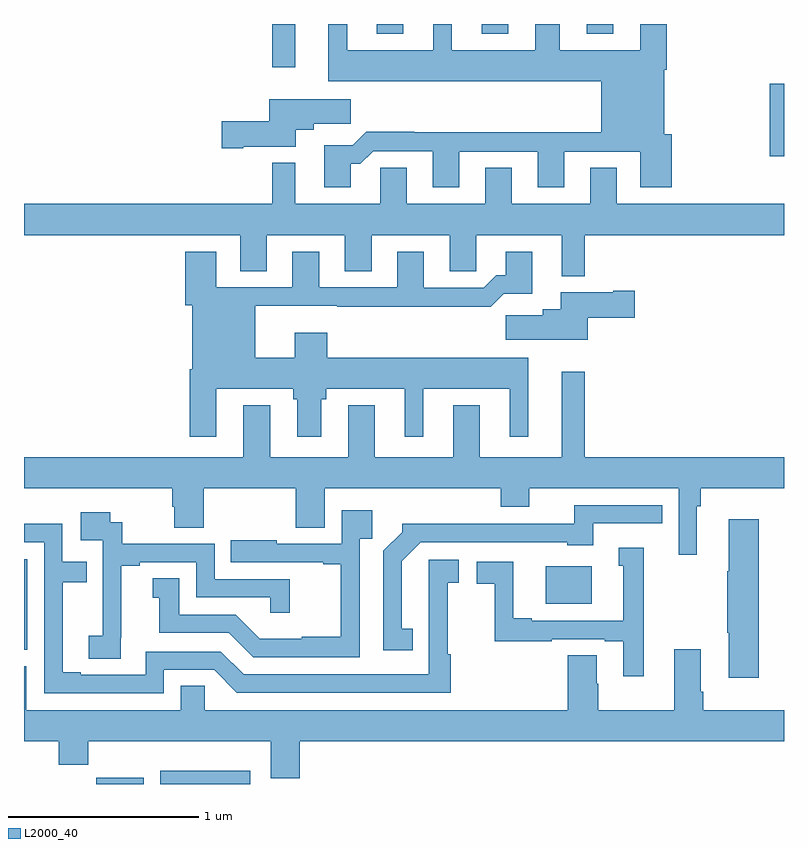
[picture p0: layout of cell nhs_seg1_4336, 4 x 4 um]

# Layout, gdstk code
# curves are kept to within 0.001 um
import gdstk
lib = gdstk.Library(unit=1e-6, precision=1e-09)
def R(c, l, rs):  # rectangles x0, y0, x1, y1
    for r in rs: c.add(gdstk.rectangle(r[:2], r[2:], *l))
def A(c, l, x, y, w, h, nx, ny, dx, dy):  # array of equal rectangles
    R(c, l, [(x+i*dx, y+j*dy, x+i*dx+w, y+j*dy+h) for i in range(nx) for j in range(ny)])
def P(c, l, *ps):  # polygons
    for p in ps: c.add(gdstk.Polygon(p, *l))
L2000_40 = (2000, 40)

nhs_seg1_4336 = lib.new_cell('nhs_seg1_4336')
A(nhs_seg1_4336, L2000_40, 348.857, 530.147, 0.14, 0.052, 3, 1, 0.552, 0)
R(nhs_seg1_4336, L2000_40, [(347.38,526.199,347.629,526.231), (347.717,526.199,348.19,526.27), (347,526.905,347.016,527.382), (349.745,527.147,349.987,527.344), (350.924,529.503,351,529.884), (348.306,529.971,348.427,530.199)])
P(nhs_seg1_4336, L2000_40, [(348.721,529.463),(348.77,529.463),(348.837,529.53),(349.151,529.53),(349.151,529.341),(349.291,529.341),(349.291,529.527),(349.703,529.527),(349.703,529.341),(349.843,529.341),(349.843,529.527),(350.243,529.527),(350.243,529.341),(350.408,529.341),(350.408,529.62),(350.371,529.62),(350.371,529.958),(350.384,529.958),(350.384,530.199),(350.243,530.199),(350.243,530.062),(349.819,530.062),(349.819,530.199),(349.691,530.199),(349.691,530.062),(349.252,530.062),(349.252,530.199),(349.154,530.199),(349.154,530.062),(348.7,530.062),(348.7,530.199),(348.602,530.199),(348.602,529.898),(350.039,529.898),(350.039,529.628),(349.055,529.628),(349.055,529.631),(348.8,529.631),(348.73,529.561),(348.581,529.561),(348.581,529.341),(348.721,529.341)],
  [(348.154,529.553),(348.43,529.553),(348.43,529.643),(348.526,529.643),(348.526,529.675),(348.721,529.675),(348.721,529.804),(348.29,529.804),(348.29,529.688),(348.042,529.688),(348.042,529.546),(348.154,529.546)],
  [(349.951,529.088),(351,529.088),(351,529.252),(350.119,529.252),(350.119,529.442),(349.979,529.442),(349.979,529.252),(349.567,529.252),(349.567,529.442),(349.427,529.442),(349.427,529.252),(349.015,529.252),(349.015,529.442),(348.876,529.442),(348.876,529.252),(348.427,529.252),(348.427,529.468),(348.306,529.468),(348.306,529.252),(347,529.252),(347,529.088),(348.137,529.088),(348.137,528.898),(348.277,528.898),(348.277,529.088),(348.689,529.088),(348.689,528.898),(348.829,528.898),(348.829,529.088),(349.241,529.088),(349.241,528.898),(349.38,528.898),(349.38,529.088),(349.829,529.088),(349.829,528.872),(349.951,528.872)],
  [(348.013,528.278),(348.418,528.278),(348.418,528.225),(348.437,528.225),(348.437,528.027),(348.565,528.027),(348.565,528.225),(348.591,528.225),(348.591,528.278),(349.004,528.278),(349.004,528.027),(349.102,528.027),(349.102,528.278),(349.556,528.278),(349.556,528.027),(349.654,528.027),(349.654,528.442),(348.596,528.442),(348.596,528.574),(348.425,528.574),(348.425,528.442),(348.217,528.442),(348.217,528.716),(348.649,528.716),(348.649,528.712),(349.201,528.712),(349.201,528.71),(349.457,528.71),(349.526,528.779),(349.675,528.779),(349.675,529),(349.535,529),(349.535,528.877),(349.486,528.877),(349.419,528.81),(349.105,528.81),(349.105,529),(348.965,529),(348.965,528.813),(348.553,528.813),(348.553,529),(348.413,529),(348.413,528.813),(348.013,528.813),(348.013,529),(347.849,529),(347.849,528.72),(347.885,528.72),(347.885,528.382),(347.873,528.382),(347.873,528.027),(348.013,528.027)],
  [(349.966,528.653),(350.215,528.653),(350.215,528.795),(350.102,528.795),(350.102,528.787),(349.826,528.787),(349.826,528.697),(349.73,528.697),(349.73,528.665),(349.536,528.665),(349.536,528.536),(349.966,528.536)],
  [(350.542,527.66),(350.561,527.66),(350.561,527.756),(351,527.756),(351,527.92),(349.951,527.92),(349.951,528.37),(349.829,528.37),(349.829,527.92),(349.399,527.92),(349.399,528.193),(349.259,528.193),(349.259,527.92),(348.847,527.92),(348.847,528.193),(348.707,528.193),(348.707,527.92),(348.295,527.92),(348.295,528.193),(348.155,528.193),(348.155,527.92),(347,527.92),(347,527.756),(347.78,527.756),(347.78,527.658),(347.792,527.658),(347.792,527.548),(347.945,527.548),(347.945,527.756),(348.431,527.756),(348.431,527.548),(348.583,527.548),(348.583,527.756),(349.508,527.756),(349.508,527.657),(349.66,527.657),(349.66,527.756),(350.445,527.756),(350.445,527.406),(350.542,527.406)],
  [(349.046,527.015),(348.988,527.015),(348.988,527.371),(349.089,527.472),(349.86,527.472),(349.86,527.456),(349.996,527.456),(349.996,527.571),(350.36,527.571),(350.36,527.667),(349.897,527.667),(349.897,527.568),(349.424,527.568),(349.424,527.57),(348.99,527.57),(348.99,527.525),(348.891,527.426),(348.891,526.902),(349.046,526.902)],
  [(348.768,527.489),(348.833,527.489),(348.833,527.641),(348.672,527.641),(348.672,527.463),(348.331,527.463),(348.331,527.482),(348.088,527.482),(348.088,527.367),(348.575,527.367),(348.575,527.355),(348.667,527.355),(348.667,526.975),(348.461,526.975),(348.461,526.963),(348.242,526.963),(348.114,527.091),(347.818,527.091),(347.818,527.282),(347.678,527.282),(347.678,527.179),(347.711,527.179),(347.711,526.995),(348.078,526.995),(348.207,526.866),(348.768,526.866)],
  [(347.51,526.969),(347.512,526.969),(347.512,527.347),(347.608,527.347),(347.608,527.367),(347.907,527.367),(347.907,527.181),(348.297,527.181),(348.297,527.1),(348.398,527.1),(348.398,527.277),(348.003,527.277),(348.003,527.463),(347.516,527.463),(347.516,527.577),(347.454,527.577),(347.454,527.629),(347.298,527.629),(347.298,527.481),(347.415,527.481),(347.415,527.177),(347.414,527.177),(347.414,526.98),(347.34,526.98),(347.34,526.858),(347.51,526.858)],
  [(350.867,527.593),(350.708,527.593),(350.708,527.318),(350.701,527.318),(350.701,526.996),(350.708,526.996),(350.708,526.758),(350.867,526.758)],
  [(347.736,526.8),(348,526.8),(348.12,526.68),(349.247,526.68),(349.247,526.883),(349.23,526.883),(349.23,527.259),(349.288,527.259),(349.288,527.38),(349.13,527.38),(349.131,526.776),(348.156,526.776),(348.036,526.896),(347.64,526.896),(347.64,526.773),(347.299,526.773),(347.299,526.788),(347.203,526.788),(347.203,527.262),(347.33,527.262),(347.33,527.37),(347.202,527.37),(347.202,527.568),(347,527.568),(347,527.472),(347.106,527.472),(347.106,526.677),(347.736,526.677)],
  [(350.263,527.443),(350.129,527.443),(350.129,527.349),(350.153,527.349),(350.153,527.058),(349.672,527.058),(349.672,527.071),(349.576,527.071),(349.576,527.37),(349.383,527.37),(349.383,527.254),(349.477,527.254),(349.477,526.95),(349.778,526.95),(349.778,526.962),(350.057,526.962),(350.057,526.95),(350.153,526.95),(350.153,526.767),(350.263,526.767)],
  [(348.452,526.424),(351,526.424),(351,526.588),(350.576,526.588),(350.576,526.684),(350.563,526.684),(350.563,526.909),(350.423,526.909),(350.423,526.588),(350.022,526.588),(350.022,526.727),(350.014,526.727),(350.014,526.877),(349.862,526.877),(349.862,526.588),(347.952,526.588),(347.952,526.715),(347.825,526.715),(347.825,526.588),(347.011,526.588),(347.011,526.82),(347,526.82),(347,526.424),(347.183,526.424),(347.183,526.3),(347.339,526.3),(347.339,526.424),(348.299,526.424),(348.299,526.23),(348.452,526.23)])

lib.write_gds('nhs_seg1_4336.gds')
